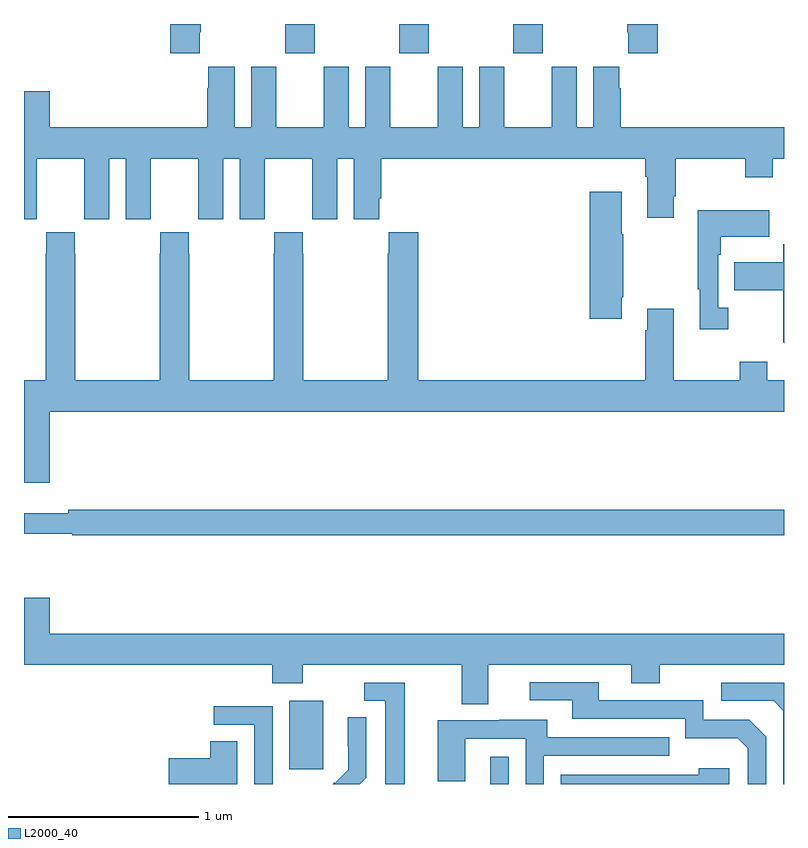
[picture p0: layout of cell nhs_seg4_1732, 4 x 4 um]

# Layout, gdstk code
import gdstk
lib = gdstk.Library(unit=1e-6, precision=1e-09)
def R(c, l, rs):  # rectangles x0, y0, x1, y1
    for r in rs: c.add(gdstk.rectangle(r[:2], r[2:], *l))
def A(c, l, x, y, w, h, nx, ny, dx, dy):  # array of equal rectangles
    R(c, l, [(x+i*dx, y+j*dy, x+i*dx+w, y+j*dy+h) for i in range(nx) for j in range(ny)])
def P(c, l, *ps):  # polygons
    for p in ps: c.add(gdstk.Polygon(p, *l))
L2000_40 = (2000, 40)

nhs_seg4_1732 = lib.new_cell('nhs_seg4_1732')
A(nhs_seg4_1732, L2000_40, 202.375, 758.745, 0.155, 0.155, 3, 1, 0.6, 0)
R(nhs_seg4_1732, L2000_40, [(203.453,754.9,203.55,755.044), (202.397,754.977,202.576,755.338)])
P(nhs_seg4_1732, L2000_40, [(204.335,758.9),(204.175,758.9),(204.175,758.857),(204.179,758.857),(204.179,758.745),(204.335,758.745)],
  [(201.925,758.857),(201.93,758.857),(201.93,758.9),(201.77,758.9),(201.77,758.745),(201.925,758.745)],
  [(201.066,757.984),(201.067,757.984),(201.067,758.192),(201.317,758.192),(201.317,757.984),(201.318,757.984),(201.318,757.872),(201.448,757.872),(201.448,758.192),(201.536,758.192),(201.536,757.872),(201.666,757.872),(201.666,757.984),(201.667,757.984),(201.667,758.192),(201.917,758.192),(201.917,757.984),(201.918,757.984),(201.918,757.872),(202.048,757.872),(202.048,758.192),(202.136,758.192),(202.136,757.872),(202.266,757.872),(202.266,757.984),(202.267,757.984),(202.267,758.192),(202.517,758.192),(202.517,757.984),(202.518,757.984),(202.518,757.872),(202.648,757.872),(202.648,758.192),(202.736,758.192),(202.736,757.872),(202.87,757.872),(202.87,757.984),(202.88,757.984),(202.88,758.192),(204.269,758.192),(204.269,758.096),(204.281,758.096),(204.281,757.881),(204.421,757.881),(204.421,757.993),(204.429,757.993),(204.429,758.192),(204.796,758.192),(204.796,758.093),(204.942,758.093),(204.942,758.192),(205,758.192),(205,758.356),(204.14,758.356),(204.14,758.561),(204.133,758.561),(204.133,758.674),(203.996,758.674),(203.996,758.356),(203.908,758.356),(203.908,758.674),(203.777,758.674),(203.777,758.356),(203.527,758.356),(203.527,758.674),(203.396,758.674),(203.396,758.356),(203.308,758.356),(203.308,758.674),(203.177,758.674),(203.177,758.356),(202.927,758.356),(202.927,758.674),(202.796,758.674),(202.796,758.356),(202.708,758.356),(202.708,758.674),(202.577,758.674),(202.577,758.356),(202.327,758.356),(202.327,758.674),(202.196,758.674),(202.196,758.356),(202.108,758.356),(202.108,758.674),(201.971,758.674),(201.971,758.561),(201.965,758.561),(201.965,758.356),(201.136,758.356),(201.136,758.545),(201,758.545),(201,757.872),(201.066,757.872)],
  [(204.145,757.462),(204.153,757.462),(204.153,757.793),(204.145,757.793),(204.145,758.017),(203.978,758.017),(203.978,757.35),(204.145,757.35)],
  [(204.706,757.406),(204.654,757.406),(204.654,757.685),(204.667,757.685),(204.667,757.781),(204.923,757.781),(204.923,757.921),(204.546,757.921),(204.546,757.505),(204.557,757.505),(204.557,757.293),(204.706,757.293)],
  [(201.136,756.86),(205,756.86),(205,757.024),(204.913,757.024),(204.913,757.123),(204.766,757.123),(204.766,757.024),(204.421,757.024),(204.421,757.402),(204.281,757.402),(204.281,757.289),(204.269,757.289),(204.269,757.024),(203.075,757.024),(203.075,757.804),(202.921,757.804),(202.921,757.691),(202.915,757.691),(202.915,757.024),(202.47,757.024),(202.47,757.691),(202.467,757.691),(202.467,757.804),(202.317,757.804),(202.317,757.691),(202.315,757.691),(202.315,757.024),(201.87,757.024),(201.87,757.691),(201.867,757.691),(201.867,757.804),(201.717,757.804),(201.717,757.691),(201.715,757.691),(201.715,757.024),(201.27,757.024),(201.27,757.691),(201.267,757.691),(201.267,757.804),(201.117,757.804),(201.117,757.691),(201.115,757.691),(201.115,757.024),(201,757.024),(201,756.486),(201.136,756.486)],
  [(205,757.741),(204.996,757.741),(204.996,757.645),(204.739,757.645),(204.739,757.498),(204.996,757.498),(204.996,757.225),(205,757.221)],
  [(205,756.344),(201.232,756.344),(201.232,756.325),(201,756.325),(201,756.216),(201.255,756.216),(201.255,756.208),(205,756.208)],
  [(203.443,755.528),(204.197,755.528),(204.197,755.429),(204.345,755.429),(204.345,755.528),(205,755.528),(205,755.692),(201.136,755.692),(201.136,755.881),(201,755.881),(201,755.528),(202.307,755.528),(202.307,755.429),(202.467,755.429),(202.467,755.528),(203.303,755.528),(203.303,755.32),(203.443,755.32)],
  [(204.906,755.148),(204.816,755.238),(204.576,755.238),(204.576,755.34),(204.025,755.34),(204.025,755.436),(203.661,755.436),(203.661,755.34),(203.885,755.34),(203.885,755.244),(204.48,755.244),(204.48,755.141),(204.757,755.141),(204.81,755.088),(204.81,754.9),(204.906,754.9)],
  [(205,755.433),(204.669,755.433),(204.669,755.337),(204.945,755.337),(204.996,755.286),(204.996,754.9),(205,754.9)],
  [(203.005,755.433),(202.791,755.433),(202.791,755.337),(202.901,755.337),(202.901,754.9),(203.005,754.9)],
  [(202.308,755.31),(201.999,755.31),(201.999,755.211),(202.212,755.211),(202.212,754.9),(202.308,754.9)],
  [(202.8,754.934),(202.8,755.252),(202.704,755.252),(202.704,755.098),(202.706,755.098),(202.706,754.976),(202.635,754.905),(202.632,754.908),(202.624,754.9),(202.766,754.9)],
  [(203.736,755.049),(204.395,755.049),(204.395,755.145),(203.755,755.145),(203.755,755.239),(203.501,755.239),(203.501,755.235),(203.177,755.235),(203.177,754.915),(203.322,754.915),(203.322,755.139),(203.64,755.139),(203.64,754.9),(203.736,754.9)],
  [(202.123,755.126),(201.98,755.126),(201.98,755.036),(201.762,755.036),(201.762,754.9),(202.123,754.9)],
  [(204.712,754.984),(204.551,754.984),(204.551,754.95),(203.826,754.95),(203.826,754.9),(204.712,754.9)])

lib.write_gds('nhs_seg4_1732.gds')
